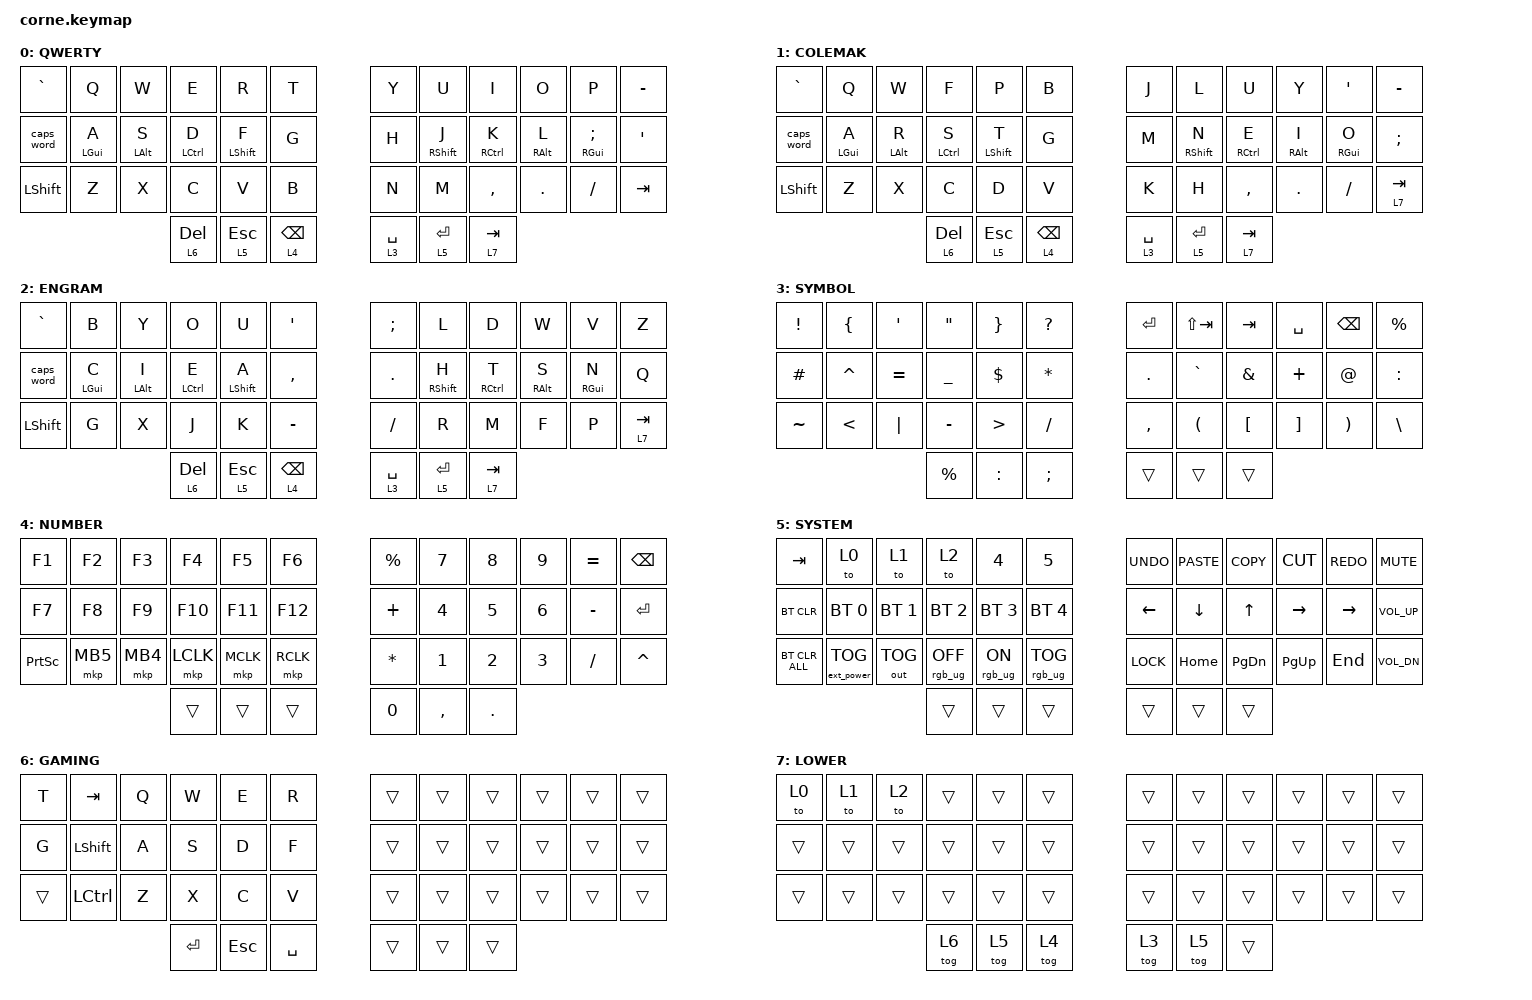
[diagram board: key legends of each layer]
/*
 * Copyright (c) 2020 The ZMK Contributors
 *
 * SPDX-License-Identifier: MIT
 */

#include <behaviors.dtsi>
#include <dt-bindings/zmk/bt.h>
#include <dt-bindings/zmk/ext_power.h>
#include <dt-bindings/zmk/keys.h>
#include <dt-bindings/zmk/outputs.h>
#include <dt-bindings/zmk/pointing.h>
#include <dt-bindings/zmk/rgb.h>

/ {
    behaviors {
        hrm_left: hrm_left {
            compatible = "zmk,behavior-hold-tap";
            label = "HRM_LEFT";
            bindings = <&kp>, <&kp>;

            #binding-cells = <2>;
            tapping-term-ms = <250>;
            quick-tap-ms = <300>;
            require-prior-idle-ms = <150>;
            flavor = "tap-preferred";
            hold-trigger-key-positions = <6 7 8 9 10 11 18 19 20 21 22 23 30 31 32 33 34 35 39 40 41 38 37 36>;
            hold-trigger-on-release;
        };

        hrm_right: hrm_right {
            compatible = "zmk,behavior-hold-tap";
            label = "HRM_RIGHT";
            bindings = <&kp>, <&kp>;

            #binding-cells = <2>;
            tapping-term-ms = <250>;
            quick-tap-ms = <300>;
            require-prior-idle-ms = <150>;
            flavor = "tap-preferred";
            hold-trigger-on-release;
            hold-trigger-key-positions = <0 1 2 3 4 5 12 13 14 15 16 17 24 25 26 27 28 29 36 37 38 39 40 41>;
        };

        layer_tap: layer_tap {
            compatible = "zmk,behavior-hold-tap";
            label = "LAYER_TAP";
            bindings = <&mo>, <&kp>;

            #binding-cells = <2>;
            tapping-term-ms = <170>;
            quick-tap-ms = <150>;
            flavor = "balanced";
        };
    };

    keymap {
        compatible = "zmk,keymap";

        qwerty {
            display-name = "QWERTY";
            bindings = <
&kp GRAVE   &kp Q             &kp W             &kp E              &kp R                &kp T                     &kp Y               &kp U                &kp I               &kp O              &kp P                      &kp MINUS
&caps_word  &hrm_left LGUI A  &hrm_left LALT S  &hrm_left LCTRL D  &hrm_left LSHIFT F   &kp G                     &kp H               &hrm_right RSHIFT J  &hrm_right RCTRL K  &hrm_right RALT L  &hrm_right RGUI SEMICOLON  &kp SQT
&kp LSHFT   &kp Z             &kp X             &kp C              &kp V                &kp B                     &kp N               &kp M                &kp COMMA           &kp DOT            &kp FSLH                   &kp TAB
                                                &layer_tap 6 DEL   &layer_tap 5 ESCAPE  &layer_tap 4 BACKSPACE    &layer_tap 3 SPACE  &layer_tap 5 ENTER   &layer_tap 7 TAB
            >;
        };

        colemak {
            display-name = "COLEMAK";
            bindings = <
&kp GRAVE   &kp Q             &kp W                 &kp F              &kp P                   &kp B                     &kp J               &kp L                &kp U               &kp Y                   &kp SQT            &kp MINUS
&caps_word  &hrm_left LGUI A  &hrm_left LEFT_ALT R  &hrm_left LCTRL S  &hrm_left LEFT_SHIFT T  &kp G                     &kp M               &hrm_right RSHIFT N  &hrm_right RCTRL E  &hrm_right RIGHT_ALT I  &hrm_right RGUI O  &kp SEMICOLON
&kp LSHFT   &kp Z             &kp X                 &kp C              &kp D                   &kp V                     &kp K               &kp H                &kp COMMA           &kp DOT                 &kp FSLH           &lt 7 TAB
                                                    &layer_tap 6 DEL   &layer_tap 5 ESCAPE     &layer_tap 4 BACKSPACE    &layer_tap 3 SPACE  &layer_tap 5 RETURN  &layer_tap 7 TAB
            >;
        };

        engram {
            display-name = "ENGRAM";
            bindings = <
&kp GRAVE   &kp B             &kp Y                 &kp O              &kp U                   &kp SQT                   &kp SEMICOLON       &kp L                &kp D               &kp W                   &kp V              &kp Z
&caps_word  &hrm_left LGUI C  &hrm_left LEFT_ALT I  &hrm_left LCTRL E  &hrm_left LEFT_SHIFT A  &kp COMMA                 &kp PERIOD          &hrm_right RSHIFT H  &hrm_right RCTRL T  &hrm_right RIGHT_ALT S  &hrm_right RGUI N  &kp Q
&kp LSHFT   &kp G             &kp X                 &kp J              &kp K                   &kp MINUS                 &kp SLASH           &kp R                &kp M               &kp F                   &kp P              &lt 7 TAB
                                                    &layer_tap 6 DEL   &layer_tap 5 ESCAPE     &layer_tap 4 BACKSPACE    &layer_tap 3 SPACE  &layer_tap 5 RETURN  &layer_tap 7 TAB
            >;
        };

        symbol {
            bindings = <
&kp EXCL   &kp LEFT_BRACE  &kp SQT    &kp DQT      &kp RIGHT_BRACE  &kp QUESTION     &kp RETURN  &kp LS(TAB)  &kp TAB   &kp SPACE  &kp BACKSPACE  &kp PERCENT
&kp HASH   &kp CARET       &kp EQUAL  &kp UNDER    &kp DOLLAR       &kp ASTRK        &kp PERIOD  &kp GRAVE    &kp AMPS  &kp PLUS   &kp AT         &kp COLON
&kp TILDE  &kp LT          &kp PIPE   &kp MINUS    &kp GT           &kp FSLH         &kp COMMA   &kp LPAR     &kp LBKT  &kp RBKT   &kp RPAR       &kp BSLH
                                      &kp PERCENT  &kp COLON        &kp SEMICOLON    &trans      &trans       &trans
            >;

            label = "SYMBOL";
        };

        number {
            bindings = <
&kp F1           &kp F2    &kp F3    &kp F4     &kp F5     &kp F6       &kp PRCNT  &kp N7     &kp N8      &kp N9  &kp EQUAL  &kp BACKSPACE
&kp F7           &kp F8    &kp F9    &kp F10    &kp F11    &kp F12      &kp PLUS   &kp N4     &kp N5      &kp N6  &kp MINUS  &kp ENTER
&kp PRINTSCREEN  &mkp MB5  &mkp MB4  &mkp LCLK  &mkp MCLK  &mkp RCLK    &kp ASTRK  &kp N1     &kp N2      &kp N3  &kp FSLH   &kp CARET
                                     &trans     &trans     &trans       &kp N0     &kp COMMA  &kp PERIOD
            >;

            label = "NUMBER";
        };

        system {
            display-name = "SYSTEM";
            bindings = <
&kp TAB         &to 0              &to 1         &to 2            &kp N4          &kp N5             &kp K_UNDO  &kp K_PASTE  &kp K_COPY  &kp K_CUT  &kp K_REDO  &kp K_MUTE
&bt BT_CLR      &bt BT_SEL 0       &bt BT_SEL 1  &bt BT_SEL 2     &bt BT_SEL 3    &bt BT_SEL 4       &kp LEFT    &kp DOWN     &kp UP      &kp RIGHT  &kp RIGHT   &kp C_VOL_UP
&bt BT_CLR_ALL  &ext_power EP_TOG  &out OUT_TOG  &rgb_ug RGB_OFF  &rgb_ug RGB_ON  &rgb_ug RGB_TOG    &kp K_LOCK  &kp HOME     &kp PG_DN   &kp PG_UP  &kp END     &kp C_VOL_DN
                                                 &trans           &trans          &trans             &trans      &trans       &trans
            >;
        };

        gaming {
            bindings = <
&kp T   &kp TAB    &kp Q  &kp W    &kp E    &kp R        &trans  &trans  &trans  &trans  &trans  &trans
&kp G   &kp LSHFT  &kp A  &kp S    &kp D    &kp F        &trans  &trans  &trans  &trans  &trans  &trans
&trans  &kp LCTRL  &kp Z  &kp X    &kp C    &kp V        &trans  &trans  &trans  &trans  &trans  &trans
                          &kp RET  &kp ESC  &kp SPACE    &trans  &trans  &trans
            >;

            label = "GAMING";
        };

        lower {
            bindings = <
&to 0   &to 1   &to 2   &trans  &trans  &trans    &trans  &trans  &trans  &trans  &trans  &trans
&trans  &trans  &trans  &trans  &trans  &trans    &trans  &trans  &trans  &trans  &trans  &trans
&trans  &trans  &trans  &trans  &trans  &trans    &trans  &trans  &trans  &trans  &trans  &trans
                        &tog 6  &tog 5  &tog 4    &tog 3  &tog 5  &trans
            >;

            label = "LOWER";
        };
    };
};
